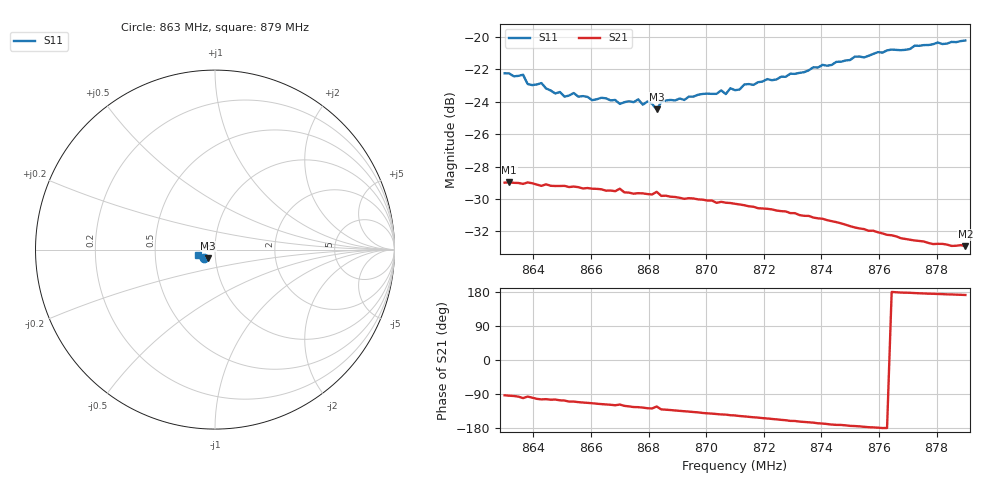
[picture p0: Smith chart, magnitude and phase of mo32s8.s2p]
# HZ S RI R 50
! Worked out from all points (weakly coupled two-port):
!   101 points, 863 MHz to 879 MHz, reference 50 ohm
!   highest |S21| = -28.98 dB at 863.16 MHz (marker M1); lowest = -32.9 dB at 879 MHz (marker M2)
!   lowest |S11| = -24.5 dB at 868.28 MHz (marker M3), VSWR 1.13, Z = 46.2 - j4.31 ohm
!   |S11| at or under -10 dB: start of sweep to end of sweep
!   S12 and S22 are empty: the file has one direction only
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8.63e8  -0.0622 -0.0458  -0.00196 -0.0355  0 0  0 0
8.6316e8  -0.0622 -0.0458  -0.00261 -0.0355  0 0  0 0
8.6364e8  -0.0619 -0.0449  -0.00645 -0.0346  0 0  0 0
8.638e8  -0.0559 -0.0447  -0.00403 -0.0353  0 0  0 0
8.6428e8  -0.0572 -0.044  -0.00838 -0.0337  0 0  0 0
8.6508e8  -0.05 -0.0423  -0.0101 -0.0332  0 0  0 0
8.654e8  -0.052 -0.0425  -0.0116 -0.0325  0 0  0 0
8.6572e8  -0.0497 -0.043  -0.0129 -0.0315  0 0  0 0
8.6604e8  -0.0484 -0.0416  -0.0139 -0.031  0 0  0 0
8.6684e8  -0.0472 -0.0431  -0.0164 -0.0291  0 0  0 0
8.67e8  -0.0434 -0.0445  -0.0157 -0.0302  0 0  0 0
8.6764e8  -0.046 -0.0448  -0.0186 -0.0272  0 0  0 0
8.678e8  -0.0439 -0.0435  -0.0192 -0.0267  0 0  0 0
8.6812e8  -0.0446 -0.0434  -0.02 -0.0258  0 0  0 0
8.6828e8  -0.0375 -0.0465  -0.018 -0.028  0 0  0 0
8.6844e8  -0.0446 -0.0445  -0.021 -0.0246  0 0  0 0
8.71e8  -0.0468 -0.0501  -0.0254 -0.0169  0 0  0 0
8.7132e8  -0.0488 -0.0521  -0.0259 -0.0157  0 0  0 0
8.7244e8  -0.052 -0.0526  -0.0267 -0.0115  0 0  0 0
8.7372e8  -0.0591 -0.0549  -0.0268 -0.00701  0 0  0 0
8.7644e8  -0.0779 -0.0481  -0.0244 0.000154  0 0  0 0
8.79e8  -0.0925 -0.0311  -0.0224 0.00331  0 0  0 0
